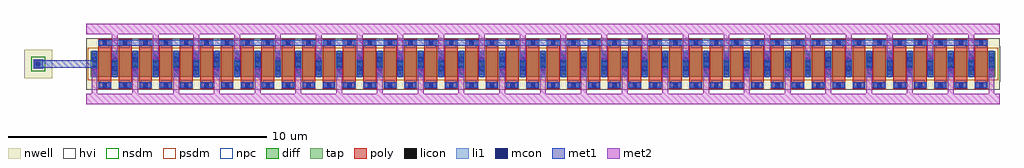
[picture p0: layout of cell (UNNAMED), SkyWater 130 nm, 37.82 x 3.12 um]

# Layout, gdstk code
import gdstk
lib = gdstk.Library(unit=1e-6, precision=1e-09)
def R(c, l, rs):  # rectangles x0, y0, x1, y1
    for r in rs: c.add(gdstk.rectangle(r[:2], r[2:], *l))
def A(c, l, x, y, w, h, nx, ny, dx, dy):  # array of equal rectangles
    R(c, l, [(x+i*dx, y+j*dy, x+i*dx+w, y+j*dy+h) for i in range(nx) for j in range(ny)])
nwell = (64, 20)
diff = (65, 20)
tap = (65, 44)
poly = (66, 20)
licon = (66, 44)
li1 = (67, 20)
mcon = (67, 44)
met1 = (68, 20)
met2 = (69, 20)
hvi = (75, 20)
nsdm = (93, 44)
psdm = (94, 20)
npc = (95, 20)

sky130_fd_pr__pfet_g5v0d = lib.new_cell('sky130_fd_pr__pfet_g5v0d10v5_5JH2JM')
R(sky130_fd_pr__pfet_g5v0d, nwell, [(-17.705,-1,17.705,1)])
R(sky130_fd_pr__pfet_g5v0d, diff, [(-17.525,-0.5,17.525,0.5)])
A(sky130_fd_pr__pfet_g5v0d, poly, -17.235, -0.985, 0.5, 1.97, 44, 1, 0.79, 0)
A(sky130_fd_pr__pfet_g5v0d, licon, -17.07, -0.905, 0.17, 0.17, 44, 2, 0.79, 1.64)
A(sky130_fd_pr__pfet_g5v0d, licon, -17.465, -0.425, 0.17, 0.17, 45, 3, 0.79, 0.34)
A(sky130_fd_pr__pfet_g5v0d, li1, -17.235, -0.905, 0.5, 0.17, 44, 2, 0.79, 1.64)
A(sky130_fd_pr__pfet_g5v0d, li1, -17.465, -0.52, 0.17, 1.04, 45, 1, 0.79, 0)
A(sky130_fd_pr__pfet_g5v0d, mcon, -17.07, -0.905, 0.17, 0.17, 44, 2, 0.79, 1.64)
A(sky130_fd_pr__pfet_g5v0d, mcon, -17.465, -0.265, 0.17, 0.17, 45, 2, 0.79, 0.36)
A(sky130_fd_pr__pfet_g5v0d, met1, -17.215, -0.935, 0.46, 0.23, 44, 1, 0.79, 0)
A(sky130_fd_pr__pfet_g5v0d, met1, -17.495, -0.5, 0.23, 1, 45, 1, 0.79, 0)
A(sky130_fd_pr__pfet_g5v0d, met1, -16.425, 0.705, 0.46, 0.23, 43, 1, 0.79, 0)
R(sky130_fd_pr__pfet_g5v0d, met1, [(-17.215,0.705,16.794,0.935)])
R(sky130_fd_pr__pfet_g5v0d, hvi, [(-17.705,-1,17.705,-0.685), (-17.71,-0.685,17.71,0.685), (-17.705,0.685,17.705,1)])
R(sky130_fd_pr__pfet_g5v0d, psdm, [(-17.65,-0.625,17.65,0.625)])
A(sky130_fd_pr__pfet_g5v0d, npc, -17.17, -1.005, 0.37, 0.37, 44, 2, 0.79, 1.64)

c__unnamed_ = lib.new_cell('(UNNAMED)')
R(c__unnamed_, licon, [(-1.943,0.915,-1.773,1.085)])
R(c__unnamed_, mcon, [(-1.943,0.915,-1.773,1.085)])
A(c__unnamed_, met2, 0.21, -0.561, 0.23, 1.369, 23, 1, 1.58, 0)
A(c__unnamed_, met2, 1, 1.192, 0.23, 1.369, 22, 1, 1.58, 0)
c__unnamed_.add(gdstk.FlexPath([(-2.408,1),(-1.308,1)], 1.1, ends="flush", simple_path=True, layer=64, datatype=20))  # nwell
c__unnamed_.add(gdstk.FlexPath([(-2.046,1),(-1.671,1)], 0.375, ends="flush", simple_path=True, layer=67, datatype=20))  # li1
c__unnamed_.add(gdstk.FlexPath([(1.98,0.679),(1.83,0.679)], 0.15, ends="flush", simple_path=True, layer=68, datatype=20))  # met1
c__unnamed_.add(gdstk.FlexPath([(3.56,0.679),(3.41,0.679)], 0.15, ends="flush", simple_path=True, layer=68, datatype=20))  # met1
c__unnamed_.add(gdstk.FlexPath([(5.14,0.679),(4.99,0.679)], 0.15, ends="flush", simple_path=True, layer=68, datatype=20))  # met1
c__unnamed_.add(gdstk.FlexPath([(6.72,0.679),(6.57,0.679)], 0.15, ends="flush", simple_path=True, layer=68, datatype=20))  # met1
c__unnamed_.add(gdstk.FlexPath([(8.3,0.679),(8.15,0.679)], 0.15, ends="flush", simple_path=True, layer=68, datatype=20))  # met1
c__unnamed_.add(gdstk.FlexPath([(9.88,0.679),(9.73,0.679)], 0.15, ends="flush", simple_path=True, layer=68, datatype=20))  # met1
c__unnamed_.add(gdstk.FlexPath([(11.46,0.679),(11.31,0.679)], 0.15, ends="flush", simple_path=True, layer=68, datatype=20))  # met1
c__unnamed_.add(gdstk.FlexPath([(13.04,0.679),(12.89,0.679)], 0.15, ends="flush", simple_path=True, layer=68, datatype=20))  # met1
c__unnamed_.add(gdstk.FlexPath([(14.62,0.679),(14.47,0.679)], 0.15, ends="flush", simple_path=True, layer=68, datatype=20))  # met1
c__unnamed_.add(gdstk.FlexPath([(16.2,0.679),(16.05,0.679)], 0.15, ends="flush", simple_path=True, layer=68, datatype=20))  # met1
c__unnamed_.add(gdstk.FlexPath([(17.78,0.679),(17.63,0.679)], 0.15, ends="flush", simple_path=True, layer=68, datatype=20))  # met1
c__unnamed_.add(gdstk.FlexPath([(19.36,0.679),(19.21,0.679)], 0.15, ends="flush", simple_path=True, layer=68, datatype=20))  # met1
c__unnamed_.add(gdstk.FlexPath([(20.94,0.679),(20.79,0.679)], 0.15, ends="flush", simple_path=True, layer=68, datatype=20))  # met1
c__unnamed_.add(gdstk.FlexPath([(22.52,0.679),(22.37,0.679)], 0.15, ends="flush", simple_path=True, layer=68, datatype=20))  # met1
c__unnamed_.add(gdstk.FlexPath([(24.1,0.679),(23.95,0.679)], 0.15, ends="flush", simple_path=True, layer=68, datatype=20))  # met1
c__unnamed_.add(gdstk.FlexPath([(25.68,0.679),(25.53,0.679)], 0.15, ends="flush", simple_path=True, layer=68, datatype=20))  # met1
c__unnamed_.add(gdstk.FlexPath([(27.26,0.679),(27.11,0.679)], 0.15, ends="flush", simple_path=True, layer=68, datatype=20))  # met1
c__unnamed_.add(gdstk.FlexPath([(28.84,0.679),(28.69,0.679)], 0.15, ends="flush", simple_path=True, layer=68, datatype=20))  # met1
c__unnamed_.add(gdstk.FlexPath([(30.42,0.679),(30.27,0.679)], 0.15, ends="flush", simple_path=True, layer=68, datatype=20))  # met1
c__unnamed_.add(gdstk.FlexPath([(32,0.679),(31.85,0.679)], 0.15, ends="flush", simple_path=True, layer=68, datatype=20))  # met1
c__unnamed_.add(gdstk.FlexPath([(33.58,0.679),(33.43,0.679)], 0.15, ends="flush", simple_path=True, layer=68, datatype=20))  # met1
c__unnamed_.add(gdstk.FlexPath([(0.4,0.679),(0.25,0.679)], 0.15, ends="flush", simple_path=True, layer=68, datatype=20))  # met1
c__unnamed_.add(gdstk.FlexPath([(1.19,1.321),(1.04,1.321)], 0.15, ends="flush", simple_path=True, layer=68, datatype=20))  # met1
c__unnamed_.add(gdstk.FlexPath([(2.77,1.321),(2.62,1.321)], 0.15, ends="flush", simple_path=True, layer=68, datatype=20))  # met1
c__unnamed_.add(gdstk.FlexPath([(4.35,1.321),(4.2,1.321)], 0.15, ends="flush", simple_path=True, layer=68, datatype=20))  # met1
c__unnamed_.add(gdstk.FlexPath([(5.93,1.321),(5.78,1.321)], 0.15, ends="flush", simple_path=True, layer=68, datatype=20))  # met1
c__unnamed_.add(gdstk.FlexPath([(7.51,1.321),(7.36,1.321)], 0.15, ends="flush", simple_path=True, layer=68, datatype=20))  # met1
c__unnamed_.add(gdstk.FlexPath([(9.09,1.321),(8.94,1.321)], 0.15, ends="flush", simple_path=True, layer=68, datatype=20))  # met1
c__unnamed_.add(gdstk.FlexPath([(10.67,1.321),(10.52,1.321)], 0.15, ends="flush", simple_path=True, layer=68, datatype=20))  # met1
c__unnamed_.add(gdstk.FlexPath([(12.25,1.321),(12.1,1.321)], 0.15, ends="flush", simple_path=True, layer=68, datatype=20))  # met1
c__unnamed_.add(gdstk.FlexPath([(13.83,1.321),(13.68,1.321)], 0.15, ends="flush", simple_path=True, layer=68, datatype=20))  # met1
c__unnamed_.add(gdstk.FlexPath([(15.41,1.321),(15.26,1.321)], 0.15, ends="flush", simple_path=True, layer=68, datatype=20))  # met1
c__unnamed_.add(gdstk.FlexPath([(16.99,1.321),(16.84,1.321)], 0.15, ends="flush", simple_path=True, layer=68, datatype=20))  # met1
c__unnamed_.add(gdstk.FlexPath([(18.57,1.321),(18.42,1.321)], 0.15, ends="flush", simple_path=True, layer=68, datatype=20))  # met1
c__unnamed_.add(gdstk.FlexPath([(20.15,1.321),(20,1.321)], 0.15, ends="flush", simple_path=True, layer=68, datatype=20))  # met1
c__unnamed_.add(gdstk.FlexPath([(21.73,1.321),(21.58,1.321)], 0.15, ends="flush", simple_path=True, layer=68, datatype=20))  # met1
c__unnamed_.add(gdstk.FlexPath([(23.31,1.321),(23.16,1.321)], 0.15, ends="flush", simple_path=True, layer=68, datatype=20))  # met1
c__unnamed_.add(gdstk.FlexPath([(24.89,1.321),(24.74,1.321)], 0.15, ends="flush", simple_path=True, layer=68, datatype=20))  # met1
c__unnamed_.add(gdstk.FlexPath([(26.47,1.321),(26.32,1.321)], 0.15, ends="flush", simple_path=True, layer=68, datatype=20))  # met1
c__unnamed_.add(gdstk.FlexPath([(28.05,1.321),(27.9,1.321)], 0.15, ends="flush", simple_path=True, layer=68, datatype=20))  # met1
c__unnamed_.add(gdstk.FlexPath([(29.63,1.321),(29.48,1.321)], 0.15, ends="flush", simple_path=True, layer=68, datatype=20))  # met1
c__unnamed_.add(gdstk.FlexPath([(31.21,1.321),(31.06,1.321)], 0.15, ends="flush", simple_path=True, layer=68, datatype=20))  # met1
c__unnamed_.add(gdstk.FlexPath([(32.79,1.321),(32.64,1.321)], 0.15, ends="flush", simple_path=True, layer=68, datatype=20))  # met1
c__unnamed_.add(gdstk.FlexPath([(34.37,1.321),(34.22,1.321)], 0.15, ends="flush", simple_path=True, layer=68, datatype=20))  # met1
c__unnamed_.add(gdstk.FlexPath([(35.16,0.679),(35.01,0.679)], 0.15, ends="flush", simple_path=True, layer=68, datatype=20))  # met1
c__unnamed_.add(gdstk.FlexPath([(-2.008,1),(0.212,1)], 0.3, ends="flush", simple_path=True, layer=68, datatype=20))  # met1
c__unnamed_.add(gdstk.FlexPath([(35.21,-0.361),(0.2,-0.361)], 0.4, ends="extended", simple_path=True, layer=69, datatype=20))  # met2
c__unnamed_.add(gdstk.FlexPath([(1.98,0.679),(1.83,0.679)], 0.15, ends="flush", simple_path=True, layer=69, datatype=20))  # met2
c__unnamed_.add(gdstk.FlexPath([(3.56,0.679),(3.41,0.679)], 0.15, ends="flush", simple_path=True, layer=69, datatype=20))  # met2
c__unnamed_.add(gdstk.FlexPath([(5.14,0.679),(4.99,0.679)], 0.15, ends="flush", simple_path=True, layer=69, datatype=20))  # met2
c__unnamed_.add(gdstk.FlexPath([(6.72,0.679),(6.57,0.679)], 0.15, ends="flush", simple_path=True, layer=69, datatype=20))  # met2
c__unnamed_.add(gdstk.FlexPath([(8.3,0.679),(8.15,0.679)], 0.15, ends="flush", simple_path=True, layer=69, datatype=20))  # met2
c__unnamed_.add(gdstk.FlexPath([(9.88,0.679),(9.73,0.679)], 0.15, ends="flush", simple_path=True, layer=69, datatype=20))  # met2
c__unnamed_.add(gdstk.FlexPath([(11.46,0.679),(11.31,0.679)], 0.15, ends="flush", simple_path=True, layer=69, datatype=20))  # met2
c__unnamed_.add(gdstk.FlexPath([(13.04,0.679),(12.89,0.679)], 0.15, ends="flush", simple_path=True, layer=69, datatype=20))  # met2
c__unnamed_.add(gdstk.FlexPath([(14.62,0.679),(14.47,0.679)], 0.15, ends="flush", simple_path=True, layer=69, datatype=20))  # met2
c__unnamed_.add(gdstk.FlexPath([(16.2,0.679),(16.05,0.679)], 0.15, ends="flush", simple_path=True, layer=69, datatype=20))  # met2
c__unnamed_.add(gdstk.FlexPath([(17.78,0.679),(17.63,0.679)], 0.15, ends="flush", simple_path=True, layer=69, datatype=20))  # met2
c__unnamed_.add(gdstk.FlexPath([(19.36,0.679),(19.21,0.679)], 0.15, ends="flush", simple_path=True, layer=69, datatype=20))  # met2
c__unnamed_.add(gdstk.FlexPath([(20.94,0.679),(20.79,0.679)], 0.15, ends="flush", simple_path=True, layer=69, datatype=20))  # met2
c__unnamed_.add(gdstk.FlexPath([(22.52,0.679),(22.37,0.679)], 0.15, ends="flush", simple_path=True, layer=69, datatype=20))  # met2
c__unnamed_.add(gdstk.FlexPath([(24.1,0.679),(23.95,0.679)], 0.15, ends="flush", simple_path=True, layer=69, datatype=20))  # met2
c__unnamed_.add(gdstk.FlexPath([(25.68,0.679),(25.53,0.679)], 0.15, ends="flush", simple_path=True, layer=69, datatype=20))  # met2
c__unnamed_.add(gdstk.FlexPath([(27.26,0.679),(27.11,0.679)], 0.15, ends="flush", simple_path=True, layer=69, datatype=20))  # met2
c__unnamed_.add(gdstk.FlexPath([(28.84,0.679),(28.69,0.679)], 0.15, ends="flush", simple_path=True, layer=69, datatype=20))  # met2
c__unnamed_.add(gdstk.FlexPath([(30.42,0.679),(30.27,0.679)], 0.15, ends="flush", simple_path=True, layer=69, datatype=20))  # met2
c__unnamed_.add(gdstk.FlexPath([(32,0.679),(31.85,0.679)], 0.15, ends="flush", simple_path=True, layer=69, datatype=20))  # met2
c__unnamed_.add(gdstk.FlexPath([(33.58,0.679),(33.43,0.679)], 0.15, ends="flush", simple_path=True, layer=69, datatype=20))  # met2
c__unnamed_.add(gdstk.FlexPath([(0.4,0.679),(0.25,0.679)], 0.15, ends="flush", simple_path=True, layer=69, datatype=20))  # met2
c__unnamed_.add(gdstk.FlexPath([(35.21,2.361),(0.2,2.361)], 0.4, ends="extended", simple_path=True, layer=69, datatype=20))  # met2
c__unnamed_.add(gdstk.FlexPath([(1.19,1.321),(1.04,1.321)], 0.15, ends="flush", simple_path=True, layer=69, datatype=20))  # met2
c__unnamed_.add(gdstk.FlexPath([(2.77,1.321),(2.62,1.321)], 0.15, ends="flush", simple_path=True, layer=69, datatype=20))  # met2
c__unnamed_.add(gdstk.FlexPath([(4.35,1.321),(4.2,1.321)], 0.15, ends="flush", simple_path=True, layer=69, datatype=20))  # met2
c__unnamed_.add(gdstk.FlexPath([(5.93,1.321),(5.78,1.321)], 0.15, ends="flush", simple_path=True, layer=69, datatype=20))  # met2
c__unnamed_.add(gdstk.FlexPath([(7.51,1.321),(7.36,1.321)], 0.15, ends="flush", simple_path=True, layer=69, datatype=20))  # met2
c__unnamed_.add(gdstk.FlexPath([(9.09,1.321),(8.94,1.321)], 0.15, ends="flush", simple_path=True, layer=69, datatype=20))  # met2
c__unnamed_.add(gdstk.FlexPath([(10.67,1.321),(10.52,1.321)], 0.15, ends="flush", simple_path=True, layer=69, datatype=20))  # met2
c__unnamed_.add(gdstk.FlexPath([(12.25,1.321),(12.1,1.321)], 0.15, ends="flush", simple_path=True, layer=69, datatype=20))  # met2
c__unnamed_.add(gdstk.FlexPath([(13.83,1.321),(13.68,1.321)], 0.15, ends="flush", simple_path=True, layer=69, datatype=20))  # met2
c__unnamed_.add(gdstk.FlexPath([(15.41,1.321),(15.26,1.321)], 0.15, ends="flush", simple_path=True, layer=69, datatype=20))  # met2
c__unnamed_.add(gdstk.FlexPath([(16.99,1.321),(16.84,1.321)], 0.15, ends="flush", simple_path=True, layer=69, datatype=20))  # met2
c__unnamed_.add(gdstk.FlexPath([(18.57,1.321),(18.42,1.321)], 0.15, ends="flush", simple_path=True, layer=69, datatype=20))  # met2
c__unnamed_.add(gdstk.FlexPath([(20.15,1.321),(20,1.321)], 0.15, ends="flush", simple_path=True, layer=69, datatype=20))  # met2
c__unnamed_.add(gdstk.FlexPath([(21.73,1.321),(21.58,1.321)], 0.15, ends="flush", simple_path=True, layer=69, datatype=20))  # met2
c__unnamed_.add(gdstk.FlexPath([(23.31,1.321),(23.16,1.321)], 0.15, ends="flush", simple_path=True, layer=69, datatype=20))  # met2
c__unnamed_.add(gdstk.FlexPath([(24.89,1.321),(24.74,1.321)], 0.15, ends="flush", simple_path=True, layer=69, datatype=20))  # met2
c__unnamed_.add(gdstk.FlexPath([(26.47,1.321),(26.32,1.321)], 0.15, ends="flush", simple_path=True, layer=69, datatype=20))  # met2
c__unnamed_.add(gdstk.FlexPath([(28.05,1.321),(27.9,1.321)], 0.15, ends="flush", simple_path=True, layer=69, datatype=20))  # met2
c__unnamed_.add(gdstk.FlexPath([(29.63,1.321),(29.48,1.321)], 0.15, ends="flush", simple_path=True, layer=69, datatype=20))  # met2
c__unnamed_.add(gdstk.FlexPath([(31.21,1.321),(31.06,1.321)], 0.15, ends="flush", simple_path=True, layer=69, datatype=20))  # met2
c__unnamed_.add(gdstk.FlexPath([(32.79,1.321),(32.64,1.321)], 0.15, ends="flush", simple_path=True, layer=69, datatype=20))  # met2
c__unnamed_.add(gdstk.FlexPath([(34.37,1.321),(34.22,1.321)], 0.15, ends="flush", simple_path=True, layer=69, datatype=20))  # met2
c__unnamed_.add(gdstk.FlexPath([(35.16,0.679),(35.01,0.679)], 0.15, ends="flush", simple_path=True, layer=69, datatype=20))  # met2
c__unnamed_.add(gdstk.FlexPath([(-2.008,1),(-1.708,1)], 0.3, ends="flush", simple_path=True, layer=65, datatype=44))  # tap
c__unnamed_.add(gdstk.FlexPath([(-2.133,1),(-1.583,1)], 0.55, ends="flush", simple_path=True, layer=93, datatype=44))  # nsdm
c__unnamed_.add(gdstk.Reference(sky130_fd_pr__pfet_g5v0d, (17.705,1)))

lib.write_gds('_UNNAMED_.gds')
